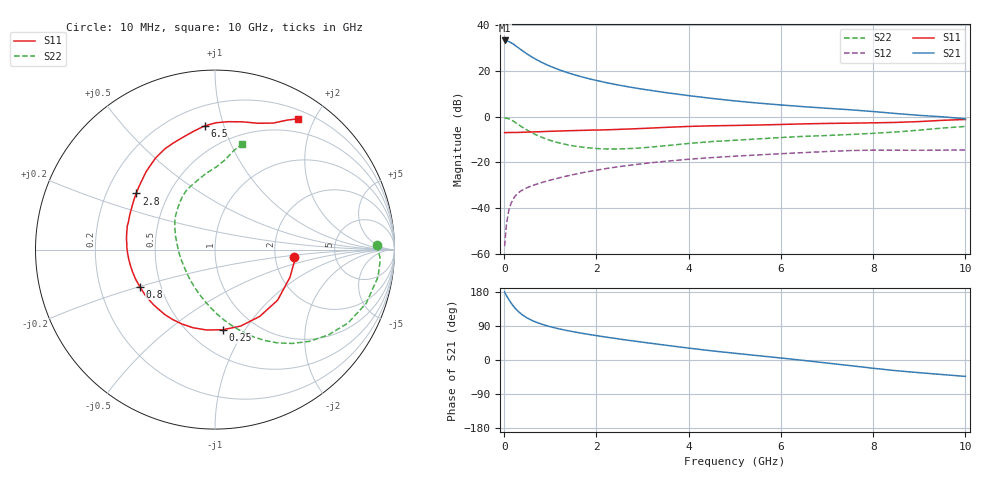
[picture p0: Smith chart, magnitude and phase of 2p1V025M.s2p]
! (c) 2009  Infineon Technologies AG, Munich
! Infineon Technologies  Discrete & RF Semiconductors
! BFP420
! VCE =  1.0 V,  IC =  25 mA
! Common Emitter S-Parameters:  Nov 2009
# GHz  S  MA  R  50
!  f  S11  S21  S12  S22
! GHz  MAG  ANG  MAG  ANG  MAG  ANG  MAG  ANG
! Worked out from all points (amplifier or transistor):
!   46 points, 10 MHz to 10 GHz, reference 50 ohm
!   highest |S21| = 33.1 dB at 10 MHz (marker M1)
!   |S21| within 3 dB of that: start of sweep to 295.3 MHz
!   unconditionally stable (mu >= 1): 1.544 GHz to end of sweep
!   at 300 MHz: K = 0.38, MSG = 31.7 dB, |S12| = -33.4 dB
!   at 1.7 GHz: K = 1.03, MAG = 19.8 dB, |S12| = -24.5 dB
!   at 10 GHz: K = 1.06, MAG = 5.4 dB, |S12| = -14.6 dB
!   lowest NFmin = 1.38 dB at 900 MHz
!   S11 on the Smith chart (normalised r, x): 10 MHz: 2.57, -0.27; 250 MHz: 0.72, -0.80; 800 MHz: 0.38, -0.20; 2.8 GHz: 0.33, +0.29; 6.5 GHz: 0.33, +0.86; 10 GHz: 0.31, +1.78
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0.01  0.4443 -5.4  45.32 179.5  0.0015 110.2  0.9032 1.5
0.02  0.447 -8.6  44.63 176.3  0.002 86.4  0.9227 -3.2
0.05  0.4453 -20.2  44.36 169.9  0.0045 85.2  0.9212 -9.5
0.1  0.4485 -38.9  42.99 159.8  0.009 77.6  0.8938 -19.6
0.15  0.448 -56.2  40.49 150.4  0.0129 71.5  0.8464 -28.9
0.2  0.4494 -71.4  37.64 142.3  0.0162 66.8  0.7906 -37.0
0.25  0.4487 -84.6  34.58 135.0  0.0191 63.2  0.7333 -44.2
0.35  0.4522 -105.8  29.24 123.5  0.0234 57.9  0.6264 -56.1
0.4  0.4537 -114.1  26.9 118.7  0.0251 56.3  0.5807 -60.9
0.5  0.4574 -127.8  22.93 111.0  0.0282 54.1  0.5032 -69.4
0.6  0.4605 -138.3  19.82 104.6  0.0309 53.0  0.4427 -76.4
0.8  0.4672 -153.8  15.36 95.1  0.036 52.3  0.3576 -88.4
1  0.476 -165.1  12.42 87.8  0.0411 52.1  0.3021 -99.0
1.2  0.4836 -173.7  10.36 81.9  0.0463 52.0  0.2648 -108.9
1.7  0.4996 170.2  7.237 70.3  0.0597 50.5  0.2148 -131.8
2.8  0.539 144.5  4.246 50.3  0.0888 42.8  0.2022 -176.4
3.5  0.5795 131.5  3.319 39.1  0.1059 36.3  0.2308 161.8
5.5  0.652 105.5  1.963 11.5  0.1456 17.8  0.3247 127.7
6.5  0.6916 94.8  1.635 -1.2  0.1637 8.4  0.3697 114.9
7  0.7067 89.6  1.511 -8.0  0.1729 3.4  0.3853 108.2
8.5  0.7439 71.1  1.16 -28.2  0.1847 -13.8  0.4604 89.1
10  0.8632 57.6  0.892 -43.3  0.1863 -24.8  0.6071 75.7
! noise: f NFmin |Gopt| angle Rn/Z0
0.9  1.38  0.22  -154  0.13
1.8  1.65  0.29  -143  0.13
2.4  1.81  0.26  -138  0.17
3  1.83  0.34  -129  0.18
4  1.97  0.45  -112  0.27
5  2.4  0.49  -95  0.44
6  2.85  0.54  -84  0.65
